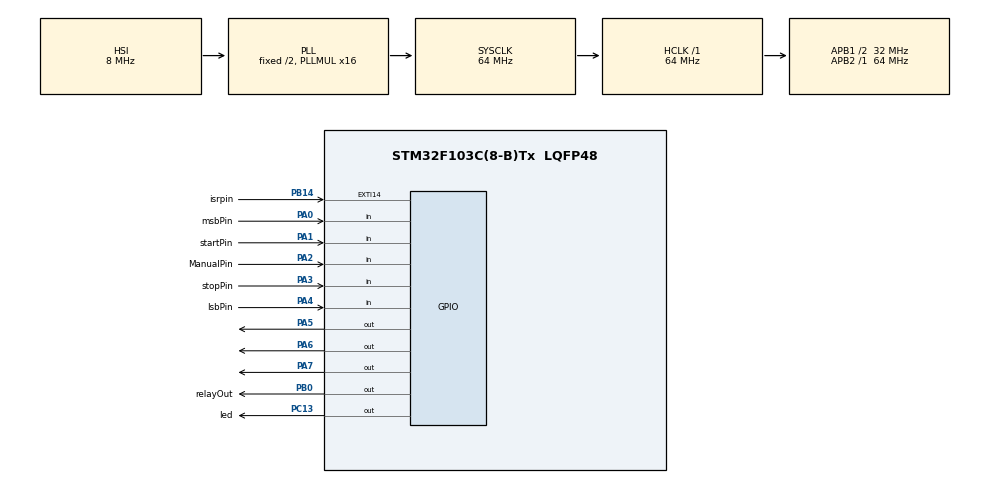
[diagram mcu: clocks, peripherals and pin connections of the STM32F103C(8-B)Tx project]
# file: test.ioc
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Mcu.Family=STM32F1
Mcu.Name=STM32F103C(8-B)Tx
Mcu.Package=LQFP48
NVIC.EXTI15_10_IRQn=true\:0\:0\:false\:false\:true\:true\:true\:true
NVIC.PriorityGroup=NVIC_PRIORITYGROUP_4
NVIC.RCC_IRQn=true\:0\:0\:false\:false\:true\:true\:false\:true
NVIC.TIM2_IRQn=true\:0\:0\:false\:false\:true\:true\:true\:true
PA0-WKUP.GPIO_Label=msbPin
PA0-WKUP.GPIO_PuPd=GPIO_PULLUP
PA0-WKUP.Signal=GPIO_Input
PA1.GPIO_Label=startPin
PA1.GPIO_PuPd=GPIO_PULLUP
PA1.Signal=GPIO_Input
PA2.GPIO_Label=ManualPin
PA2.GPIO_PuPd=GPIO_PULLUP
PA2.Signal=GPIO_Input
PA3.GPIO_Label=stopPin
PA3.GPIO_PuPd=GPIO_PULLUP
PA3.Signal=GPIO_Input
PA4.GPIO_Label=lsbPin
PA4.GPIO_PuPd=GPIO_PULLUP
PA4.Signal=GPIO_Input
PA5.Signal=GPIO_Output
PA6.Signal=GPIO_Output
PA7.Signal=GPIO_Output
PB0.GPIO_Label=relayOut
PB0.PinState=GPIO_PIN_SET
PB0.Signal=GPIO_Output
PB14.GPIO_Label=isrpin
PB14.GPIO_ModeDefaultEXTI=GPIO_MODE_IT_RISING
PB14.Signal=GPXTI14
PC13-TAMPER-RTC.GPIO_Label=led
PC13-TAMPER-RTC.Signal=GPIO_Output
ProjectManager.HeapSize=0x200
ProjectManager.StackSize=0x400
ProjectManager.TargetToolchain=CMake
RCC.AHBFreq_Value=64000000
RCC.APB1CLKDivider=RCC_HCLK_DIV2
RCC.APB1Freq_Value=32000000
RCC.APB1TimFreq_Value=64000000
RCC.APB2Freq_Value=64000000
RCC.APB2TimFreq_Value=64000000
RCC.HCLKFreq_Value=64000000
RCC.PLLMUL=RCC_PLL_MUL16
RCC.SYSCLKFreq_VALUE=64000000
RCC.SYSCLKSource=RCC_SYSCLKSOURCE_PLLCLK
RCC.USBFreq_Value=64000000
TIM2.AutoReloadPreload=TIM_AUTORELOAD_PRELOAD_ENABLE
TIM2.ClockDivision=TIM_CLOCKDIVISION_DIV1
TIM2.Period=1000
TIM2.Prescaler=64000-1
TIM2.TIM_MasterOutputTrigger=TIM_TRGO_UPDATE
VP_SYS_VS_ND.Mode=No_Debug
VP_TIM2_VS_ClockSourceINT.Mode=Internal
board=custom

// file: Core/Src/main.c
/* USER CODE BEGIN Header */
/**
  ******************************************************************************
  * @file           : main.c
  * @brief          : Main program body
  ******************************************************************************
  * @attention
  *
  * Copyright (c) 2026 STMicroelectronics.
  * All rights reserved.
  *
  * This software is licensed under terms that can be found in the LICENSE file
  * in the root directory of this software component.
  * If no LICENSE file comes with this software, it is provided AS-IS.
  *
  ******************************************************************************
  */
/* USER CODE END Header */
#include "main.h"

/* USER CODE BEGIN Includes */
#include "stdbool.h"
#include "stm32f1xx_hal.h"
#include "stm32f1xx_hal_gpio.h"
#include "stm32f1xx_hal_tim.h"
/* USER CODE END Includes */

TIM_HandleTypeDef htim2;

void SystemClock_Config(void);
static void MX_GPIO_Init(void);
static void MX_TIM2_Init(void);
/* USER CODE BEGIN PFP */
#define EEPROM_ADDR 0x0800FC00
#define EEPROM_CAL_ADDR   0x0800FC02

#define DIN_PIN   GPIO_PIN_7
#define DIN_PORT  GPIOA

#define CLK_PIN   GPIO_PIN_5
#define CLK_PORT  GPIOA

#define CS_PIN    GPIO_PIN_6
#define CS_PORT   GPIOA

void MAX7219_Init(void);
void MAX7219_Send(uint8_t address, uint8_t data);
void MAX7219_Clear(void);
void MAX7219_DisplayDigit(uint8_t digit);
void MAX7219_WriteDigit(uint8_t position, uint8_t value);
void setRunScreen(bool autoMode);
uint16_t LoadCounter(void);
void SaveCounter(uint16_t value);
uint16_t LoadCaliValue(void);
void SaveCaliValue(uint16_t value);
void calibration_mode(void);
void showCalibrationValue(uint16_t value);
bool nowRun = false;

uint8_t setValue = 0;
uint8_t lsbVal = 0;
uint8_t msbVal = 0,wdt_Counter=0;
uint32_t actual_Milli_Value = 98123;
volatile uint32_t pulses = 0;
volatile uint16_t calibration_value = 260;
bool ready = true;
bool nowater=false;
bool manaul=false;
uint8_t MAX7219_DIGITS[10] =
{
    0x7E, // 0
    0x30, // 1
    0x6D, // 2
    0x79, // 3
    0x33, // 4
    0x5B, // 5
    0x5F, // 6
    0x70, // 7
    0x7F, // 8
    0x7B  // 9
};

/* USER CODE END PFP */

/* USER CODE BEGIN 0 */

void HAL_GPIO_EXTI_Callback(uint16_t GPIO_Pin)
{
    if(GPIO_Pin == GPIO_PIN_14)
    {
        pulses++;
        float actual_Milli_Value_F =(  (float)(pulses) / (float)calibration_value) *  (1000.00);
       actual_Milli_Value = actual_Milli_Value_F;
       // actual_Milli_Value = pulses;
       wdt_Counter=0;
       if (actual_Milli_Value > setValue * 1000.0 && manaul==false)
      {
        actual_Milli_Value = 0;
        pulses = 0;
        nowRun = false;
        ready = true;
       HAL_GPIO_WritePin(relayOut_GPIO_Port, relayOut_Pin, GPIO_PIN_SET);
      }
    }
}

void MAX7219_WriteDigit(uint8_t position, uint8_t value)
{
    if(position > 7 || value > 9)
        return;

    MAX7219_Send(position + 1, value);
}

static void MAX7219_WriteByte(uint8_t data)
{
    for(int i=0;i<8;i++)
    {
        HAL_GPIO_WritePin(CLK_PORT, CLK_PIN, GPIO_PIN_RESET);

        if(data & 0x80)
            HAL_GPIO_WritePin(DIN_PORT, DIN_PIN, GPIO_PIN_SET);
        else
            HAL_GPIO_WritePin(DIN_PORT, DIN_PIN, GPIO_PIN_RESET);
//HAL_Delay(1);
        HAL_GPIO_WritePin(CLK_PORT, CLK_PIN, GPIO_PIN_SET);

        data <<= 1;
    }
}

void MAX7219_Send(uint8_t address, uint8_t data)
{
    HAL_GPIO_WritePin(CS_PORT, CS_PIN, GPIO_PIN_RESET);

    MAX7219_WriteByte(address);
  //  HAL_Delay(1);
    MAX7219_WriteByte(data);
   // HAL_Delay(1);
    HAL_GPIO_WritePin(CS_PORT, CS_PIN, GPIO_PIN_SET);
}

void MAX7219_Init(void)
{
    MAX7219_Send(0x09, 0);   // BCD decode for all 8 digits
    MAX7219_Send(0x0A, 0x08);   // Brightness (0-15)
    MAX7219_Send(0x0B, 0x07);   // Scan limit = 8 digits
    MAX7219_Send(0x0C, 0x01);   // Normal operation
    MAX7219_Send(0x0F, 0x00);   // Display test off

    MAX7219_Clear();
}

void MAX7219_Clear(void)
{
    for(uint8_t i=1;i<=8;i++)
        MAX7219_Send(i,0x00);
}

void setRunScreen(bool autoMode)
{

  if (autoMode)
  {

    MAX7219_Send( 8, MAX7219_DIGITS[msbVal]);
    MAX7219_Send( 7, MAX7219_DIGITS[lsbVal]);
  }
  else
  {
    MAX7219_Clear();
  }

  MAX7219_Send( 6, 0x00);
  MAX7219_Send( 5, MAX7219_DIGITS[actual_Milli_Value / 10000]);
  MAX7219_Send( 4, MAX7219_DIGITS[(actual_Milli_Value / 1000) % 10] +0x80);
  MAX7219_Send( 3, MAX7219_DIGITS[(actual_Milli_Value / 100) % 10]);
  MAX7219_Send( 2, MAX7219_DIGITS[(actual_Milli_Value % 100) / 10]);
   MAX7219_Send( 1, 0x0e);
}

void showCalibrationValue(uint16_t value)
{

  MAX7219_Send( 8, 0x4e); //c
  MAX7219_Send( 7, 0x77); //a
  MAX7219_Send( 6, 0x0e); //l
   MAX7219_Send( 5, 0x00); //l

  MAX7219_Send( 4, MAX7219_DIGITS[value / 100]);
  MAX7219_Send( 3, MAX7219_DIGITS[(value / 10) % 10]);
  MAX7219_Send( 2, MAX7219_DIGITS[value % 10]);
 MAX7219_Send( 1, 0x00); //
}
void disSet(uint8_t setVal)
{

  setVal = setVal % 100;

  MAX7219_Clear();
  MAX7219_Send( 8, 0x5b); //s
  MAX7219_Send( 7, 0x4f); //e
  MAX7219_Send( 6, 0x0f); //t

  MAX7219_Send( 4, MAX7219_DIGITS[setVal / 10]);
  MAX7219_Send( 3, MAX7219_DIGITS[setVal % 10]);
  MAX7219_Send( 1, 0x0e);
}

void SaveCaliValue(uint16_t value){

   HAL_FLASH_Unlock();

    FLASH_EraseInitTypeDef erase;
    uint32_t error;

    erase.TypeErase = FLASH_TYPEERASE_PAGES;
    erase.PageAddress = EEPROM_CAL_ADDR;
    erase.NbPages = 1;
    HAL_FLASHEx_Erase(&erase, &error);
    HAL_FLASH_Program(FLASH_TYPEPROGRAM_HALFWORD,
                      EEPROM_CAL_ADDR,
                      value);

    HAL_FLASH_Lock();

}
void SaveCounter(uint16_t value)
{
    HAL_FLASH_Unlock();

    FLASH_EraseInitTypeDef erase;
    uint32_t error;

    erase.TypeErase = FLASH_TYPEERASE_PAGES;
    erase.PageAddress = EEPROM_ADDR;
    erase.NbPages = 1;
    HAL_FLASHEx_Erase(&erase, &error);

    HAL_FLASH_Program(FLASH_TYPEPROGRAM_HALFWORD,
                      EEPROM_ADDR,
                      value);

    HAL_FLASH_Lock();
}
uint16_t LoadCounter(void)
{
    return *(volatile uint16_t *)EEPROM_ADDR;
}

uint16_t LoadCaliValue(void)
{
    return *(volatile uint16_t *)EEPROM_CAL_ADDR;
}

void calibration_mode(){

  if(HAL_GPIO_ReadPin(ManualPin_GPIO_Port, ManualPin_Pin)== GPIO_PIN_RESET ){
    wdt_Counter=0;
    for(uint8_t i=0;i<5;i++){
      HAL_GPIO_WritePin(led_GPIO_Port, led_Pin, GPIO_PIN_RESET);
      HAL_Delay(100);
      HAL_GPIO_WritePin(led_GPIO_Port, led_Pin, GPIO_PIN_SET);
      HAL_Delay(100);
    }
    bool done=false;
    showCalibrationValue(calibration_value);
    while(done==false){
      if(HAL_GPIO_ReadPin(msbPin_GPIO_Port, msbPin_Pin)== GPIO_PIN_RESET){
         if(calibration_value>0){
        calibration_value--;
         }
        showCalibrationValue(calibration_value);
        HAL_Delay(100);
        wdt_Counter=0;
      }
      else if (HAL_GPIO_ReadPin(lsbPin_GPIO_Port, lsbPin_Pin)== GPIO_PIN_RESET) {

       if(calibration_value<600){
calibration_value++;
       }

        showCalibrationValue(calibration_value);
        HAL_Delay(100);
        wdt_Counter=0;
      }

      if(HAL_GPIO_ReadPin(startPin_GPIO_Port  , startPin_Pin)== GPIO_PIN_RESET){
         SaveCounter((calibration_value*100)+setValue);
        done=true;
      }
      else if (wdt_Counter>20){
         done=true;
      }
    }
  }
}

void HAL_TIM_PeriodElapsedCallback(TIM_HandleTypeDef *htim)
{
    if (htim->Instance == TIM2)
    {
        HAL_GPIO_TogglePin(led_GPIO_Port, led_Pin);
        if(wdt_Counter<255){
          wdt_Counter++;
        }
    }
}

/* USER CODE END 0 */

int main(void)
{

  /* MCU Configuration--------------------------------------------------------*/

  /* Reset of all peripherals, Initializes the Flash interface and the Systick. */
  HAL_Init();

  /* Configure the system clock */
  SystemClock_Config();

  /* Initialize all configured peripherals */
  MX_GPIO_Init();
  MX_TIM2_Init();
  /* USER CODE BEGIN 2 */
  MAX7219_Init();
HAL_TIM_Base_Start_IT(&htim2);

 setValue = (LoadCounter()%100);
 calibration_value= (LoadCounter()/100);

  calibration_mode();

   showCalibrationValue(calibration_value);
   HAL_Delay(1000);

    msbVal = setValue / 10;
    lsbVal =setValue % 10;
  /* USER CODE END 2 */

  /* Infinite loop */
  /* USER CODE BEGIN WHILE */
  while (1)
  {

   //  HAL_GPIO_WritePin(led_GPIO_Port, led_Pin, GPIO_PIN_RESET);
    // HAL_Delay(20);

     //HAL_GPIO_WritePin(led_GPIO_Port, led_Pin, GPIO_PIN_SET);
     //HAL_Delay(20);

    //  MAX7219_WriteDigit(4, (pulses /1000) );   // Next digit = 3
   //   MAX7219_WriteDigit(3, (pulses % 1000) % 10);   // Next digit = 3
    //  MAX7219_WriteDigit(2, (pulses % 100) % 10);   // Next digit = 3
    //  MAX7219_WriteDigit(1, (pulses % 100) / 10);   // Next digit = 3

    if(HAL_GPIO_ReadPin(stopPin_GPIO_Port, stopPin_Pin)== GPIO_PIN_RESET || nowater==true){

        nowRun = false;
        ready = true;
        pulses = 0;
        actual_Milli_Value = 0;
        HAL_GPIO_WritePin(relayOut_GPIO_Port, relayOut_Pin, GPIO_PIN_SET);

        HAL_Delay(300);
       // Serial.println("STOP");
      }

      //---------------------------
      if (nowRun)
  {
    if(wdt_Counter>20){
      nowater=true;
    }
    setRunScreen(true);
  }
  else if (ready)
  {

           MAX7219_Send( 6, 0x00);
            MAX7219_Send( 5, 0x05); //r
             MAX7219_Send(4, 0x4f); //e
            MAX7219_Send( 3, 0x77); //a
            MAX7219_Send( 2, 0x3d); //d
            MAX7219_Send( 1, 0x3b); //y

          MAX7219_Send( 8, MAX7219_DIGITS[msbVal]);
          MAX7219_Send( 7, MAX7219_DIGITS[lsbVal]);

  }

  //---------------------------

      if(HAL_GPIO_ReadPin(ManualPin_GPIO_Port, ManualPin_Pin)== GPIO_PIN_RESET ){

      nowater=false;
      HAL_GPIO_WritePin(relayOut_GPIO_Port, relayOut_Pin, GPIO_PIN_RESET);
        HAL_Delay (15);

      manaul=true;

      pulses = 0;
        while (HAL_GPIO_ReadPin(ManualPin_GPIO_Port, ManualPin_Pin) == GPIO_PIN_RESET)
        {

        //  MAX7219_Init();
          HAL_Delay(50);
          //pulses=0;
          setRunScreen(false);

        }
        HAL_GPIO_WritePin(relayOut_GPIO_Port, relayOut_Pin, GPIO_PIN_SET);
        ready=0;
manaul=false;
        HAL_Delay(100);
        MAX7219_Init();
        setRunScreen(false);

      }

      else if (HAL_GPIO_ReadPin(startPin_GPIO_Port, startPin_Pin) == GPIO_PIN_RESET)
      {
        wdt_Counter=0;
        nowater=false;
        pulses = 0;
        nowRun = true;
        actual_Milli_Value = 0;
        ready = false;
        HAL_GPIO_WritePin(relayOut_GPIO_Port, relayOut_Pin, GPIO_PIN_RESET);
        HAL_Delay(50);

        MAX7219_Init();
      }

    if (HAL_GPIO_ReadPin(lsbPin_GPIO_Port , lsbPin_Pin) == GPIO_PIN_RESET) {
        ready = 0;
          wdt_Counter=0;

        lsbVal++;
        if (lsbVal > 9)
        {
          lsbVal = 0;
        }
        setValue = msbVal * 10 + lsbVal;
        disSet(setValue);
        nowRun = false;
        HAL_Delay(300);
        pulses = 0;
        actual_Milli_Value = 0;
        SaveCounter((calibration_value*100)+setValue);
        //EEPROM.update(0, setValue);
      }

      else if (HAL_GPIO_ReadPin(msbPin_GPIO_Port, msbPin_Pin) == GPIO_PIN_RESET) {
          wdt_Counter=0;
          ready = 0;
          msbVal++;
          if (msbVal > 9)
          {
            msbVal = 0;
          }
          setValue = msbVal * 10 + lsbVal;
          disSet(setValue);
          nowRun = false;
          HAL_Delay(300);
          pulses = 0;
        SaveCounter((calibration_value*100)+setValue);

          actual_Milli_Value = 0;
      }
    /* USER CODE END WHILE */

  }
}

void SystemClock_Config(void)
{
  RCC_OscInitTypeDef RCC_OscInitStruct = {0};
  RCC_ClkInitTypeDef RCC_ClkInitStruct = {0};

  /** Initializes the RCC Oscillators according to the specified parameters
  * in the RCC_OscInitTypeDef structure.
  */
  RCC_OscInitStruct.OscillatorType = RCC_OSCILLATORTYPE_HSI;
  RCC_OscInitStruct.HSIState = RCC_HSI_ON;
  RCC_OscInitStruct.HSICalibrationValue = RCC_HSICALIBRATION_DEFAULT;
  RCC_OscInitStruct.PLL.PLLState = RCC_PLL_ON;
  RCC_OscInitStruct.PLL.PLLSource = RCC_PLLSOURCE_HSI_DIV2;
  RCC_OscInitStruct.PLL.PLLMUL = RCC_PLL_MUL16;
  if (HAL_RCC_OscConfig(&RCC_OscInitStruct) != HAL_OK)
  {
    Error_Handler();
  }

  /** Initializes the CPU, AHB and APB buses clocks
  */
  RCC_ClkInitStruct.ClockType = RCC_CLOCKTYPE_HCLK|RCC_CLOCKTYPE_SYSCLK
                              |RCC_CLOCKTYPE_PCLK1|RCC_CLOCKTYPE_PCLK2;
  RCC_ClkInitStruct.SYSCLKSource = RCC_SYSCLKSOURCE_PLLCLK;
  RCC_ClkInitStruct.AHBCLKDivider = RCC_SYSCLK_DIV1;
  RCC_ClkInitStruct.APB1CLKDivider = RCC_HCLK_DIV2;
  RCC_ClkInitStruct.APB2CLKDivider = RCC_HCLK_DIV1;

  if (HAL_RCC_ClockConfig(&RCC_ClkInitStruct, FLASH_LATENCY_2) != HAL_OK)
  {
    Error_Handler();
  }
}

static void MX_TIM2_Init(void)
{

  TIM_ClockConfigTypeDef sClockSourceConfig = {0};
  TIM_MasterConfigTypeDef sMasterConfig = {0};

  htim2.Instance = TIM2;
  htim2.Init.Prescaler = 64000-1;
  htim2.Init.CounterMode = TIM_COUNTERMODE_UP;
  htim2.Init.Period = 1000;
  htim2.Init.ClockDivision = TIM_CLOCKDIVISION_DIV1;
  htim2.Init.AutoReloadPreload = TIM_AUTORELOAD_PRELOAD_ENABLE;
  if (HAL_TIM_Base_Init(&htim2) != HAL_OK)
  {
    Error_Handler();
  }
  sClockSourceConfig.ClockSource = TIM_CLOCKSOURCE_INTERNAL;
  if (HAL_TIM_ConfigClockSource(&htim2, &sClockSourceConfig) != HAL_OK)
  {
    Error_Handler();
  }
  sMasterConfig.MasterOutputTrigger = TIM_TRGO_UPDATE;
  sMasterConfig.MasterSlaveMode = TIM_MASTERSLAVEMODE_DISABLE;
  if (HAL_TIMEx_MasterConfigSynchronization(&htim2, &sMasterConfig) != HAL_OK)
  {
    Error_Handler();
  }

}

static void MX_GPIO_Init(void)
{
  GPIO_InitTypeDef GPIO_InitStruct = {0};

  /* GPIO Ports Clock Enable */
  __HAL_RCC_GPIOC_CLK_ENABLE();
  __HAL_RCC_GPIOA_CLK_ENABLE();
  __HAL_RCC_GPIOB_CLK_ENABLE();

  /*Configure GPIO pin Output Level */
  HAL_GPIO_WritePin(led_GPIO_Port, led_Pin, GPIO_PIN_RESET);

  /*Configure GPIO pin Output Level */
  HAL_GPIO_WritePin(GPIOA, GPIO_PIN_5|GPIO_PIN_6|GPIO_PIN_7, GPIO_PIN_RESET);

  /*Configure GPIO pin Output Level */
  HAL_GPIO_WritePin(relayOut_GPIO_Port, relayOut_Pin, GPIO_PIN_SET);

  /*Configure GPIO pin : led_Pin */
  GPIO_InitStruct.Pin = led_Pin;
  GPIO_InitStruct.Mode = GPIO_MODE_OUTPUT_PP;
  GPIO_InitStruct.Pull = GPIO_NOPULL;
  GPIO_InitStruct.Speed = GPIO_SPEED_FREQ_LOW;
  HAL_GPIO_Init(led_GPIO_Port, &GPIO_InitStruct);

  /*Configure GPIO pins : msbPin_Pin startPin_Pin ManualPin_Pin stopPin_Pin
                           lsbPin_Pin */
  GPIO_InitStruct.Pin = msbPin_Pin|startPin_Pin|ManualPin_Pin|stopPin_Pin
                          |lsbPin_Pin;
  GPIO_InitStruct.Mode = GPIO_MODE_INPUT;
  GPIO_InitStruct.Pull = GPIO_PULLUP;
  HAL_GPIO_Init(GPIOA, &GPIO_InitStruct);

  /*Configure GPIO pins : PA5 PA6 PA7 */
  GPIO_InitStruct.Pin = GPIO_PIN_5|GPIO_PIN_6|GPIO_PIN_7;
  GPIO_InitStruct.Mode = GPIO_MODE_OUTPUT_PP;
  GPIO_InitStruct.Pull = GPIO_NOPULL;
  GPIO_InitStruct.Speed = GPIO_SPEED_FREQ_LOW;
  HAL_GPIO_Init(GPIOA, &GPIO_InitStruct);

  /*Configure GPIO pin : relayOut_Pin */
  GPIO_InitStruct.Pin = relayOut_Pin;
  GPIO_InitStruct.Mode = GPIO_MODE_OUTPUT_PP;
  GPIO_InitStruct.Pull = GPIO_NOPULL;
  GPIO_InitStruct.Speed = GPIO_SPEED_FREQ_LOW;
  HAL_GPIO_Init(relayOut_GPIO_Port, &GPIO_InitStruct);

  /*Configure GPIO pin : isrpin_Pin */
  GPIO_InitStruct.Pin = isrpin_Pin;
  GPIO_InitStruct.Mode = GPIO_MODE_IT_RISING;
  GPIO_InitStruct.Pull = GPIO_NOPULL;
  HAL_GPIO_Init(isrpin_GPIO_Port, &GPIO_InitStruct);

  /* EXTI interrupt init*/
  HAL_NVIC_SetPriority(EXTI15_10_IRQn, 0, 0);
  HAL_NVIC_EnableIRQ(EXTI15_10_IRQn);

}

void Error_Handler(void)
{
  __disable_irq();
  while (1)
  {
  }
}
